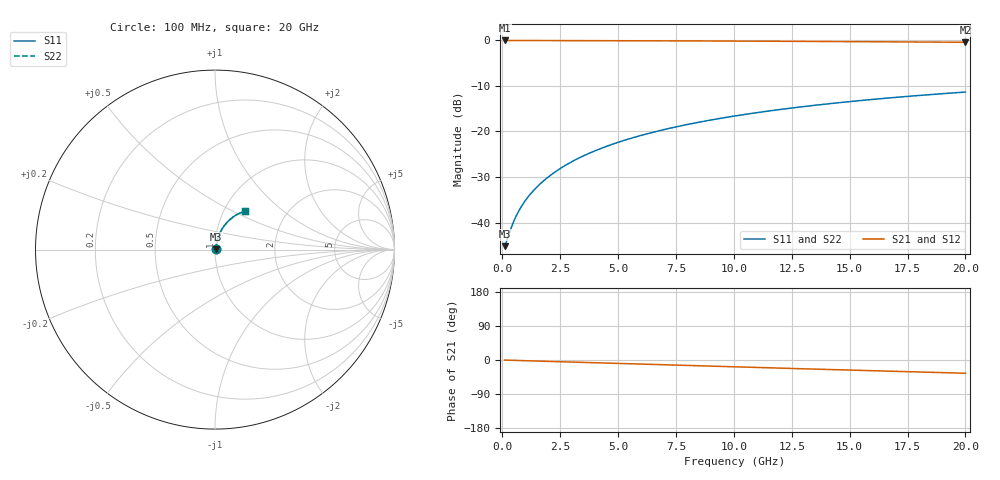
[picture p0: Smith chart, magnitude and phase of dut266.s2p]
! Touchstone file exported from HFSS 2026.1.0
!  File:  C:/ffzhzh/LocalFiles/Ansys_Project_Files/temp_train_BSMRDL_266_1782988839_41620.aedt
!  Generated:  06:41:49 PM Jul  2, 2026
!  Design:  BSMRDL
!  Project:  temp_train_BSMRDL_266_1782988839_41620
! Variables:
!  h_bsmrdl = 2.12um
!  h_ox = 20um
!  h_rdl = 5um
!  h_sub = 80um
!  h_tmrdl = 5um
!  h_tsv = 80um
!  h_via = 3um
!  l_bsmrdl = 542.25um
!  l_sub = 942.25um
!  l_tmrdl = 200um
!  m_sub = 200um
!  pitch = 31.45um
!  r_tsv = 6um
!  s_tmrdl = 10um
!  w_bsmrdl = 18.36um
!  w_sub = 500um
!  w_tmrdl = 12um
!  x_tsv_center1 = 206um
!  x_tsv_center2 = 766.61um
!  x_tsv_center3 = 978.61um
!  x_tsv_center4 = 1539.22um
!  x_tsv_center5 = 1751.22um
!  x_tsv_center6 = 2311.83um
# GHz S MA R 50.000000
! Terminal data exported
! Port[1] = BSM_RDL1_1_T1
! Port[2] = BSM_RDL1_1_T2
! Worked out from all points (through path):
!   200 points, 100 MHz to 20 GHz, reference 50 ohm
!   highest |S21| = -0.05 dB at 100 MHz (marker M1); lowest = -0.4 dB at 20 GHz (marker M2)
!   group delay of S21, straight-line fit = 4.86 ps
!   lowest |S11| = -45.2 dB at 100 MHz (marker M3), VSWR 1.01, Z = 50.5 + j0.18 ohm
!   |S11| at or under -10 dB: start of sweep to end of sweep
!   |S22| runs from -45.2 to -11.4 dB; largest |S21 - S12| = 4.3e-15
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0.1  0.0055 18.9  0.9948 -0.2  0.9948 -0.2  0.0055 18.9
! Gamma 0 0 0 0
! Port Impedance 50 0 50 0
0.2  0.006392 33.6  0.9947 -0.4  0.9947 -0.4  0.006392 33.6
0.4  0.008958 50.3  0.9943 -0.8  0.9943 -0.8  0.008958 50.3
0.6  0.0118 58.3  0.9939 -1.2  0.9939 -1.2  0.0118 58.3
0.7  0.01322 60.9  0.9938 -1.3  0.9938 -1.3  0.01322 60.9
0.9  0.01606 64.7  0.9935 -1.7  0.9935 -1.7  0.01606 64.7
1.1  0.0189 67.3  0.9932 -2.1  0.9932 -2.1  0.0189 67.3
1.3  0.02174 69.3  0.993 -2.4  0.993 -2.4  0.02174 69.3
1.7  0.02747 72.0  0.9926 -3.1  0.9926 -3.1  0.02747 72.0
2.2  0.03472 74.0  0.9922 -4.0  0.9922 -4.0  0.03472 74.0
2.8  0.04351 75.1  0.9917 -5.1  0.9917 -5.1  0.04351 75.1
3.5  0.05381 75.6  0.9911 -6.4  0.9911 -6.4  0.0538 75.6
4.2  0.06411 75.5  0.9903 -7.6  0.9903 -7.6  0.06411 75.5
5  0.07586 74.9  0.9892 -9.1  0.9892 -9.1  0.07585 74.9
5.9  0.08899 74.0  0.9879 -10.7  0.9879 -10.7  0.08898 74.1
6.8  0.102 73.0  0.9864 -12.3  0.9864 -12.3  0.102 73.0
8.3  0.1234 70.9  0.9835 -15.0  0.9835 -15.0  0.1234 70.9
10.1  0.1484 68.2  0.9794 -18.2  0.9794 -18.2  0.1484 68.2
11.7  0.17 65.6  0.9753 -21.0  0.9753 -21.0  0.1699 65.7
13.4  0.1921 62.9  0.9706 -23.9  0.9706 -23.9  0.1921 62.9
16.7  0.2328 57.6  0.9606 -29.5  0.9606 -29.5  0.2328 57.6
20  0.2701 52.3  0.9499 -35.0  0.9499 -35.0  0.27 52.3
